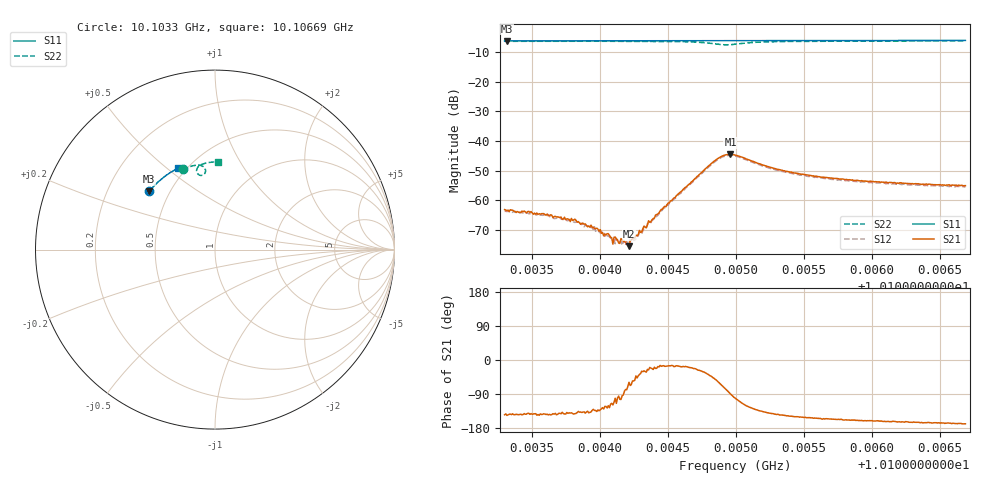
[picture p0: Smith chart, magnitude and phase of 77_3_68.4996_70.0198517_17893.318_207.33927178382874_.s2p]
#  HZ  S  RI  R  50.00
! Rohde & Schwarz Vector Network Analyzer
! Rohde-Schwarz,ZNB20-2Port,1311601062101988,3.16
! Created: UTC 3/20/2024, 4:52:00 PM
! freq[Hz]  re:S11  im:S11  re:S21  im:S21  re:S12  im:S12  re:S22  im:S22
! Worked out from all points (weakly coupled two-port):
!   401 points, 10.1033 GHz to 10.10669 GHz, reference 50 ohm
!   highest |S21| = -44.52 dB at 10.10496 GHz (marker M1); lowest = -75.5 dB at 10.10421 GHz (marker M2)
!   lowest |S11| = -6.2 dB at 10.10332 GHz (marker M3), VSWR 2.92, Z = 19.3 + j16.5 ohm
!   |S11| at or under -10 dB: nowhere
!   |S22| runs from -7.5 to -6.2 dB; largest |S21 - S12| = 0.00061
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1.0103299e10  -0.3666 0.324  -0.000569 -0.000403  -0.000472 -0.000448  -0.1799 0.4468
1.0103316e10  -0.3659 0.3247  -0.000554 -0.000372  -0.000484 -0.000428  -0.1787 0.4472
1.0103596e10  -0.3549 0.338  -0.000459 -0.000349  -0.000409 -0.000365  -0.1612 0.4547
1.0103808e10  -0.3464 0.3477  -0.00037 -0.000285  -0.000313 -0.000296  -0.1472 0.4598
1.0103867e10  -0.344 0.3501  -0.000307 -0.000272  -0.000261 -0.000289  -0.1432 0.4611
1.0103986e10  -0.339 0.3555  -0.000218 -0.000243  -0.000191 -0.000246  -0.1348 0.4637
1.0104028e10  -0.3372 0.3573  -0.00016 -0.000195  -0.000164 -0.000243  -0.1318 0.4645
1.0104054e10  -0.336 0.3584  -0.000163 -0.000219  -0.000107 -0.000227  -0.1298 0.465
1.0104096e10  -0.3342 0.3603  -8.75e-05 -0.00016  -7.26e-05 -0.000199  -0.1268 0.466
1.0104181e10  -0.3308 0.3639  2.7e-05 -0.000202  4.13e-05 -0.000204  -0.1204 0.4674
1.0104215e10  -0.3292 0.3654  8.69e-05 -0.000144  9.62e-05 -0.000167  -0.1176 0.4682
1.0104266e10  -0.3269 0.3677  0.000192 -0.000173  0.000164 -0.000161  -0.1134 0.4688
1.0104435e10  -0.3195 0.3747  0.000582 -0.000192  0.00058 -0.000123  -0.0982 0.4707
1.0104477e10  -0.3176 0.3767  0.000759 -0.000229  0.000728 -0.000162  -0.0939 0.4707
1.0104833e10  -0.3011 0.3906  0.00303 -0.00324  0.00318 -0.0028  -0.0525 0.4373
1.0104901e10  -0.298 0.393  0.00206 -0.00519  0.00245 -0.00481  -0.0632 0.4179
1.0104961e10  -0.2953 0.3952  5.55e-05 -0.00595  0.000559 -0.00571  -0.084 0.4143
1.0104994e10  -0.2937 0.3966  -0.00105 -0.0057  -0.000522 -0.00556  -0.0939 0.4195
1.0105274e10  -0.2807 0.4072  -0.00273 -0.00218  -0.00246 -0.00229  -0.0879 0.4665
1.0105562e10  -0.2665 0.4174  -0.00228 -0.00118  -0.0021 -0.00133  -0.0626 0.4789
1.010613e10  -0.2374 0.4362  -0.00192 -0.000592  -0.00176 -0.000743  -0.0206 0.4871
1.010669e10  -0.2079 0.4525  -0.00173 -0.000356  -0.00162 -0.000507  0.0174 0.4891
